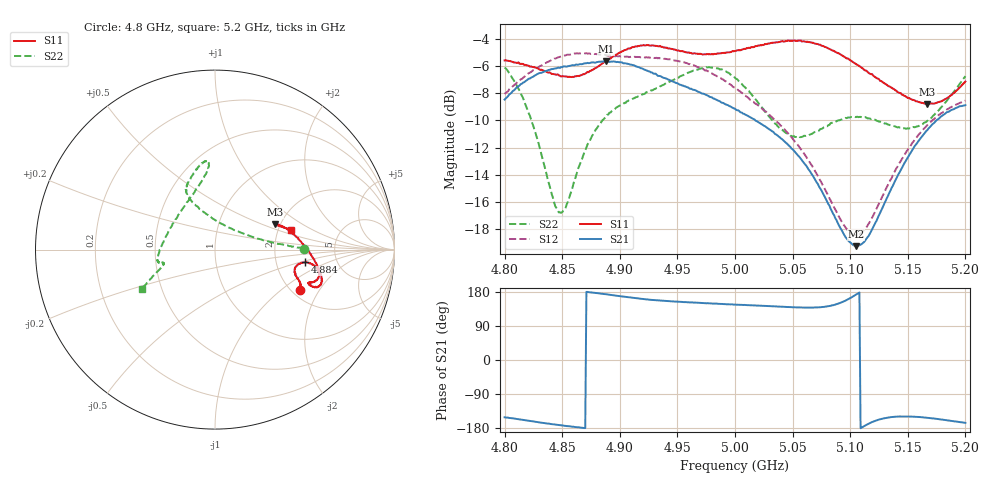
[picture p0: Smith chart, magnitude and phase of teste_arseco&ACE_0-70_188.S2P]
! Network Analyzer HP8722D
! Hewlett-Packard
! Data name: Linha & Wilkinson
! Saver's name: Rodrigo Anjos
! Comments: Teste da utilização de aquisição
! continua pelo VNA HP8722D
! Time and date: 8/5/2025 14:19
!  Frequency  S11  S21  S12  S22
# HZ  S  MA R 50
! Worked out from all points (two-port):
!   401 points, 4.8 GHz to 5.2 GHz, reference 50 ohm
!   highest |S21| = -5.65 dB at 4.888 GHz (marker M1); lowest = -19.2 dB at 5.105 GHz (marker M2)
!   |S21| within 3 dB of the highest: start of sweep to 4.988 GHz
!   lowest |S11| = -8.8 dB at 5.167 GHz (marker M3), VSWR 2.14, Z = 93.8 + j30.6 ohm
!   |S11| at or under -10 dB: nowhere
!   |S22| runs from -16.8 to -6.1 dB; largest |S21 - S12| = 1.1
!   S11 on the Smith chart (normalised r, x): 4.8 GHz: 2.23, -1.38; 4.884 GHz: 2.95, -0.57; 5.2 GHz: 2.36, +0.65
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4.8e9  0.5258 -25.1  0.3774 -151.2  0.3957 8.0  0.4952 0.5
4.811e9  0.5151 -22.3  0.4187 -155.7  0.4378 6.7  0.4213 2.7
4.821e9  0.5023 -20.4  0.4503 -160.5  0.4717 5.0  0.3356 6.4
4.846e9  0.4675 -16.4  0.4942 -171.3  0.5386 0.9  0.1486 52.6
4.853e9  0.4588 -14.8  0.4993 -173.9  0.5489 -0.3  0.151 79.7
4.867e9  0.4645 -10.9  0.5092 -178.8  0.5578 -2.2  0.227 108.9
4.884e9  0.5089 -8.0  0.5204 174.9  0.5516 -3.5  0.3123 116.5
4.888e9  0.5232 -8.0  0.522 173.5  0.5495 -3.5  0.3269 116.5
4.912e9  0.5884 -11.7  0.5048 163.7  0.541 -2.6  0.381 114.7
4.934e9  0.5918 -16.5  0.4611 157.1  0.5372 -3.4  0.4185 109.1
4.975e9  0.5537 -19.7  0.392 149.7  0.4837 -7.0  0.4961 96.4
5e9  0.5697 -20.6  0.3491 146.1  0.4175 -6.9  0.4535 94.9
5.042e9  0.6168 -18.8  0.267 140.4  0.2962 0.9  0.2896 129.2
5.067e9  0.6107 -14.0  0.1996 138.3  0.2153 8.6  0.2826 165.0
5.094e9  0.5453 -4.5  0.1216 154.0  0.131 33.8  0.3205 -172.9
5.105e9  0.5094 0.8  0.109 172.5  0.1197 54.8  0.3251 -169.4
5.116e9  0.473 6.3  0.1189 -168.2  0.1319 75.8  0.3221 -167.4
5.134e9  0.4222 15.2  0.1715 -151.2  0.1874 94.2  0.3046 -166.4
5.152e9  0.3803 21.4  0.2386 -149.2  0.2539 99.5  0.296 -164.7
5.167e9  0.3637 22.9  0.2914 -152.6  0.304 100.2  0.3152 -161.5
5.183e9  0.3797 20.4  0.3364 -158.5  0.3448 100.1  0.3695 -157.2
5.2e9  0.4397 14.6  0.3599 -165.9  0.3742 100.5  0.46 -151.9
